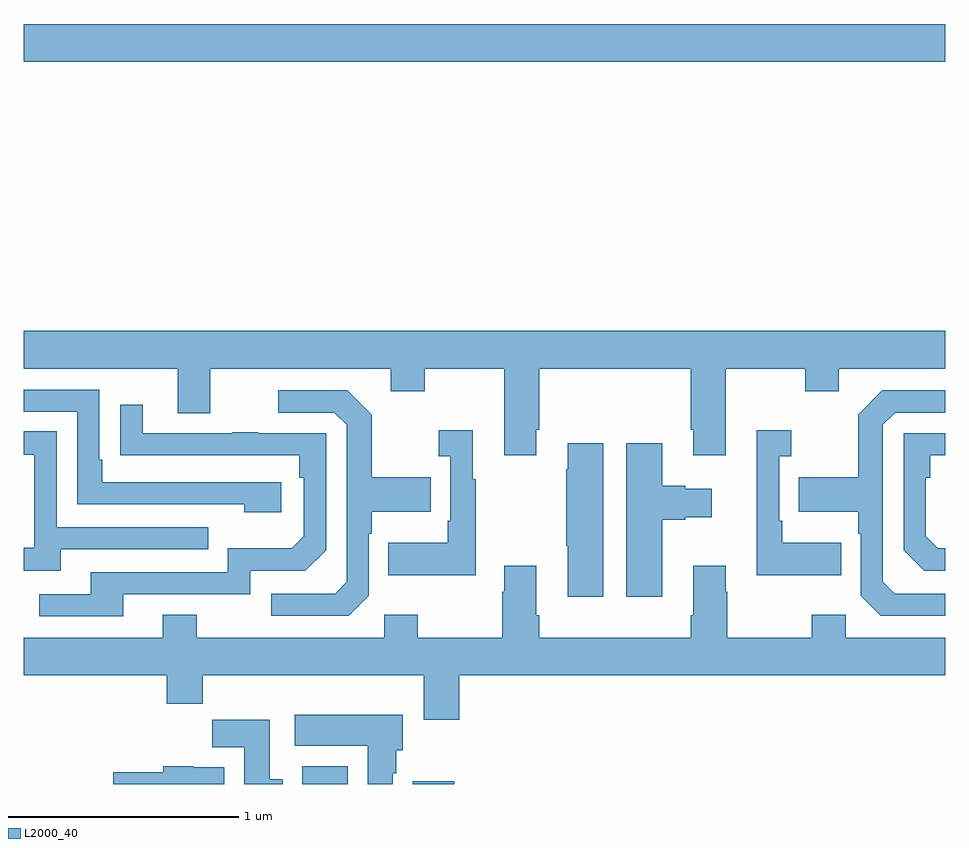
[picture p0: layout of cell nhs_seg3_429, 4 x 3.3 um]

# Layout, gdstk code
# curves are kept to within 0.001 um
import gdstk
lib = gdstk.Library(unit=1e-6, precision=1e-09)
def R(c, l, rs):  # rectangles x0, y0, x1, y1
    for r in rs: c.add(gdstk.rectangle(r[:2], r[2:], *l))
def P(c, l, *ps):  # polygons
    for p in ps: c.add(gdstk.Polygon(p, *l))
L2000_40 = (2000, 40)

nhs_seg3_429 = lib.new_cell('nhs_seg3_429')
R(nhs_seg3_429, L2000_40, [(132.209,744.4,132.406,744.478), (132.689,744.4,132.868,744.412), (131,747.536,135,747.7)])
P(nhs_seg3_429, L2000_40, [(133.225,745.939),(133.238,745.939),(133.238,746.204),(133.895,746.204),(133.895,745.939),(133.907,745.939),(133.907,745.827),(134.047,745.827),(134.047,746.204),(134.392,746.204),(134.392,746.105),(134.539,746.105),(134.539,746.204),(135,746.204),(135,746.368),(131,746.368),(131,746.204),(131.669,746.204),(131.669,746.01),(131.809,746.01),(131.809,746.204),(132.593,746.204),(132.593,746.105),(132.741,746.105),(132.741,746.204),(133.085,746.204),(133.085,745.827),(133.225,745.827)],
  [(132.118,745.71),(131.341,745.71),(131.341,745.807),(131.328,745.807),(131.328,746.112),(131,746.112),(131,746.016),(131.232,746.016),(131.232,745.614),(131.957,745.614),(131.957,745.58),(132.118,745.58)],
  [(132.498,745.218),(132.498,745.487),(132.511,745.487),(132.511,745.583),(132.767,745.583),(132.767,745.731),(132.511,745.731),(132.511,746.003),(132.405,746.109),(132.105,746.109),(132.105,746.013),(132.348,746.013),(132.402,745.959),(132.402,745.278),(132.351,745.227),(132.075,745.227),(132.075,745.131),(132.411,745.131)],
  [(135,745.227),(134.781,745.227),(134.73,745.278),(134.73,745.959),(134.784,746.013),(135,746.013),(135,746.109),(134.727,746.109),(134.622,746.003),(134.622,745.731),(134.365,745.731),(134.365,745.583),(134.622,745.583),(134.622,745.487),(134.634,745.487),(134.634,745.218),(134.721,745.131),(135,745.131)],
  [(131.431,745.224),(131.982,745.224),(131.982,745.326),(132.222,745.326),(132.312,745.416),(132.312,745.923),(132.017,745.923),(132.017,745.928),(131.905,745.928),(131.905,745.923),(131.515,745.923),(131.515,746.047),(131.419,746.047),(131.419,745.828),(132.196,745.827),(132.196,745.73),(132.216,745.73),(132.216,745.476),(132.163,745.423),(131.886,745.423),(131.886,745.32),(131.291,745.32),(131.291,745.224),(131.067,745.224),(131.067,745.128),(131.431,745.128)],
  [(134.549,745.447),(134.293,745.447),(134.293,745.543),(134.28,745.543),(134.28,745.823),(134.332,745.823),(134.332,745.936),(134.183,745.936),(134.183,745.307),(134.549,745.307)],
  [(132.961,745.723),(132.949,745.723),(132.949,745.936),(132.801,745.936),(132.801,745.823),(132.852,745.823),(132.852,745.543),(132.84,745.543),(132.84,745.447),(132.583,745.447),(132.583,745.307),(132.961,745.307)],
  [(131.161,745.419),(131.801,745.419),(131.801,745.515),(131.142,745.515),(131.142,745.931),(131,745.931),(131,745.83),(131.046,745.83),(131.046,745.425),(131,745.425),(131,745.325),(131.161,745.325)],
  [(135,745.423),(134.969,745.423),(134.916,745.476),(134.916,745.73),(134.936,745.73),(134.936,745.827),(135,745.827),(135,745.923),(134.82,745.923),(134.82,745.416),(134.91,745.326),(135,745.326)],
  [(133.516,745.879),(133.361,745.879),(133.361,745.766),(133.354,745.766),(133.354,745.435),(133.361,745.435),(133.361,745.212),(133.516,745.212)],
  [(133.771,745.547),(133.871,745.547),(133.871,745.559),(133.987,745.559),(133.987,745.681),(133.871,745.681),(133.871,745.694),(133.771,745.694),(133.771,745.879),(133.616,745.879),(133.616,745.212),(133.771,745.212)],
  [(132.89,744.872),(135,744.872),(135,745.036),(134.568,745.036),(134.568,745.135),(134.422,745.135),(134.422,745.036),(134.055,745.036),(134.055,745.235),(134.047,745.235),(134.047,745.348),(133.907,745.348),(133.907,745.132),(133.895,745.132),(133.895,745.036),(133.238,745.036),(133.238,745.132),(133.225,745.132),(133.225,745.348),(133.085,745.348),(133.085,745.235),(133.078,745.235),(133.078,745.036),(132.711,745.036),(132.711,745.135),(132.564,745.135),(132.564,745.036),(131.751,745.036),(131.751,745.135),(131.603,745.135),(131.603,745.036),(131,745.036),(131,744.872),(131.621,744.872),(131.621,744.748),(131.777,744.748),(131.777,744.872),(132.737,744.872),(132.737,744.678),(132.89,744.678)],
  [(132.601,744.446),(132.616,744.446),(132.616,744.546),(132.646,744.546),(132.646,744.7),(132.177,744.7),(132.177,744.566),(132.494,744.566),(132.494,744.4),(132.601,744.4)],
  [(132.124,744.42),(132.067,744.42),(132.067,744.679),(131.818,744.679),(131.818,744.56),(131.957,744.56),(131.957,744.4),(132.124,744.4)],
  [(131.869,744.472),(131.736,744.472),(131.736,744.478),(131.606,744.478),(131.606,744.45),(131.388,744.45),(131.388,744.4),(131.869,744.4)])

lib.write_gds('nhs_seg3_429.gds')
